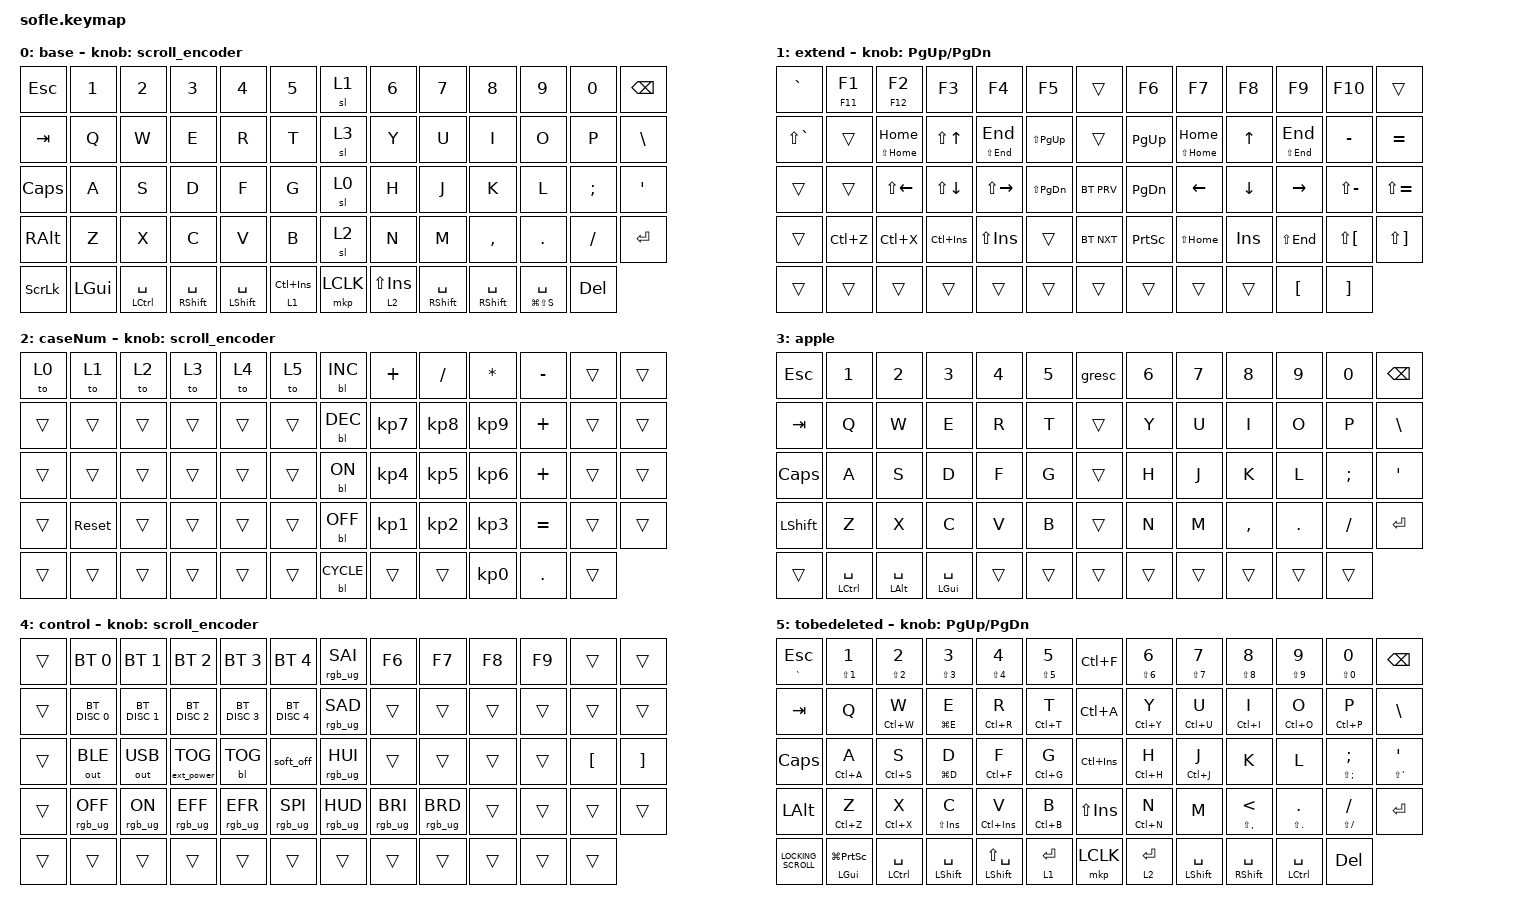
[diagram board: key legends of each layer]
#include <behaviors/mouse_keys.dtsi>
#include <behaviors.dtsi>
#include <dt-bindings/zmk/backlight.h>
#include <dt-bindings/zmk/bt.h>
#include <dt-bindings/zmk/ext_power.h>
#include <dt-bindings/zmk/keys.h>
#include <dt-bindings/zmk/mouse.h>
#include <dt-bindings/zmk/outputs.h>
#include <dt-bindings/zmk/rgb.h>

#define ZMK_MOUSE_DEFAULT_MOVE_VAL 1200  // 600
#define ZMK_MOUSE_DEFAULT_SCRL_VAL 20    // 10
#define U_MS_U &mmv MOVE_UP
#define U_MS_D &mmv MOVE_DOWN
#define U_MS_L &mmv MOVE_LEFT
#define U_MS_R &mmv MOVE_RIGHT
#define ZMK_MOUSE_DEFAULT_MOVE_VAL 1200  //  600
#define ZMK_MOUSE_DEFAULT_SCRL_VAL 20    // 10

/ {
    behaviors {
        mmv {
            acceleration-exponent = <1>;      // 1
            time-to-max-speed-ms = <900>;    // 40
            delay-ms = <0>;                   // 0
        };

        msc {
            acceleration-exponent = <1>;      // 0
            time-to-max-speed-ms = <400>;      // 500
            delay-ms = <0>;                   //   10
        };
    };

    scroll_encoder: scroll_encoder {
        compatible = "zmk,behavior-sensor-rotate";
        #sensor-binding-cells = <0>;
        bindings = <&msc SCRL_DOWN>, <&msc SCRL_UP>;

        tap-ms = <30>;
    };

    macros {
        openprompt: openprompt {
            compatible = "zmk,behavior-macro";
            #binding-cells = <0>;
            bindings = <&kp LG(R) &kp C &kp M &kp D &kp RET &kp E &kp N &kp V &kp RET>;
            label = "OPENPROMPT";
            wait-ms = <50>;
        };

        opencase: opencase {
            compatible = "zmk,behavior-macro";
            #binding-cells = <0>;
            bindings = <&kp RC(R) &kp C &kp A &kp S &kp E &kp UNDER &kp G &kp O &kp T &kp O &kp SPACE &kp LS(INS) &kp ENTER>;
            label = "OPENCASE";
        };
    };

    combos {
        compatible = "zmk,combos";

        altctldel {
            bindings = <&none>;
            key-positions = <26 63 54>;
        };
    };

    keymap {
        compatible = "zmk,keymap";

        layer0 {
            bindings = <
&kp ESC         &kp N1        &kp N2           &kp N3           &kp N4            &kp N5           &sl 1      &kp N6            &kp N7            &kp N8           &kp N9               &kp N0      &kp BSPC
&kp TAB         &kp Q         &kp W            &kp E            &kp R             &kp T            &sl 3      &kp Y             &kp U             &kp I            &kp O                &kp P       &kp BSLH
&kp CAPS        &kp A         &kp S            &kp D            &kp F             &kp G            &sl 0      &kp H             &kp J             &kp K            &kp L                &kp SEMI    &kp APOS
&kp RIGHT_ALT   &kp Z         &kp X            &kp C            &kp V             &kp B            &sl 2      &kp N             &kp M             &kp COMMA        &kp DOT              &kp FSLH    &kp ENTER
&kp SCROLLLOCK  &kp LEFT_GUI  &mt LCTRL SPACE  &mt RSHFT SPACE  &mt LSHIFT SPACE  &lt 1 LC(INS)    &mkp LCLK  &lt 2 LS(INSERT)  &mt RSHIFT SPACE  &mt RSHFT SPACE  &mt LG(LS(S)) SPACE  &kp DELETE
            >;

            sensor-bindings = <&scroll_encoder>;
            label = "base";
        };

        layer1 {
            bindings = <
&kp GRAVE      &mt F11 F1  &mt F12 F2         &kp F3            &kp F4           &kp F5               &trans      &kp F6           &kp F7             &kp F8    &kp F9            &kp F10               &trans
&kp LS(GRAVE)  &trans      &mt LS(HOME) HOME  &kp LS(UP_ARROW)  &mt LS(END) END  &kp LS(PAGE_UP)      &trans      &kp PG_UP        &mt LS(HOME) HOME  &kp UP    &mt LS(END) END   &kp MINUS             &kp EQUAL
&trans         &trans      &kp LS(LEFT)       &kp LS(DOWN)      &kp LS(RIGHT)    &kp LS(PAGE_DOWN)    &bt BT_PRV  &kp PAGE_DOWN    &kp LEFT           &kp DOWN  &kp RIGHT         &kp LS(MINUS)         &kp LS(EQUAL)
&trans         &kp LC(Z)   &kp LC(X)          &kp LC(INSERT)    &kp LS(INSERT)   &trans               &bt BT_NXT  &kp PRINTSCREEN  &kp LS(HOME)       &kp INS   &kp LS(END)       &kp LS(LEFT_BRACKET)  &kp LS(RIGHT_BRACKET)
&trans         &trans      &trans             &trans            &trans           &trans               &trans      &trans           &trans             &trans    &kp LEFT_BRACKET  &kp RIGHT_BRACKET
            >;

            sensor-bindings = <&inc_dec_kp PAGE_UP PAGE_DOWN>;
            label = "extend";
        };

        layer2 {
            bindings = <
&to 0   &to 1       &to 2   &to 3   &to 4   &to 5     &bl BL_INC    &kp PLUS         &kp SLASH        &kp ASTRK        &kp MINUS  &trans  &trans
&trans  &trans      &trans  &trans  &trans  &trans    &bl BL_DEC    &kp KP_NUMBER_7  &kp KP_NUMBER_8  &kp KP_NUMBER_9  &kp PLUS   &trans  &trans
&trans  &trans      &trans  &trans  &trans  &trans    &bl BL_ON     &kp KP_NUMBER_4  &kp KP_NUMBER_5  &kp KP_NUMBER_6  &kp PLUS   &trans  &trans
&trans  &sys_reset  &trans  &trans  &trans  &trans    &bl BL_OFF    &kp KP_NUMBER_1  &kp KP_NUMBER_2  &kp KP_NUMBER_3  &kp EQUAL  &trans  &trans
&trans  &trans      &trans  &trans  &trans  &trans    &bl BL_CYCLE  &trans           &trans           &kp KP_NUMBER_0  &kp DOT    &trans
            >;

            sensor-bindings = <&scroll_encoder>;
            label = "caseNum";
        };

        apple {
            bindings = <
&kp ESC    &kp N1                  &kp N2          &kp N3          &kp N4  &kp N5    &gresc  &kp N6  &kp N7  &kp N8     &kp N9   &kp N0    &kp BSPC
&kp TAB    &kp Q                   &kp W           &kp E           &kp R   &kp T     &trans  &kp Y   &kp U   &kp I      &kp O    &kp P     &kp BSLH
&kp CAPS   &kp A                   &kp S           &kp D           &kp F   &kp G     &trans  &kp H   &kp J   &kp K      &kp L    &kp SEMI  &kp SQT
&kp LSHFT  &kp Z                   &kp X           &kp C           &kp V   &kp B     &trans  &kp N   &kp M   &kp COMMA  &kp DOT  &kp FSLH  &kp RET
&trans     &mt LEFT_CONTROL SPACE  &mt LALT SPACE  &mt LGUI SPACE  &trans  &trans    &trans  &trans  &trans  &trans     &trans   &trans
            >;

            label = "apple";
        };

        layer4 {
            bindings = <
&trans  &bt BT_SEL 0     &bt BT_SEL 1    &bt BT_SEL 2       &bt BT_SEL 3     &bt BT_SEL 4       &rgb_ug RGB_SAI  &kp F6           &kp F7           &kp F8  &kp F9  &trans            &trans
&trans  &bt BT_DISC 0    &bt BT_DISC 1   &bt BT_DISC 2      &bt BT_DISC 3    &bt BT_DISC 4      &rgb_ug RGB_SAD  &trans           &trans           &trans  &trans  &trans            &trans
&trans  &out OUT_BLE     &out OUT_USB    &ext_power EP_TOG  &bl BL_TOG       &soft_off          &rgb_ug RGB_HUI  &trans           &trans           &trans  &trans  &kp LEFT_BRACKET  &kp RIGHT_BRACKET
&trans  &rgb_ug RGB_OFF  &rgb_ug RGB_ON  &rgb_ug RGB_EFF    &rgb_ug RGB_EFR  &rgb_ug RGB_SPI    &rgb_ug RGB_HUD  &rgb_ug RGB_BRI  &rgb_ug RGB_BRD  &trans  &trans  &trans            &trans
&trans  &trans           &trans          &trans             &trans           &trans             &trans           &trans           &trans           &trans  &trans  &trans
            >;

            display-name = "control";
            sensor-bindings = <&scroll_encoder>;
        };

        normal {
            bindings = <
&mt GRAVE ESC       &mt LS(N1) NUMBER_1           &mt LS(N2) NUMBER_2     &mt LS(N3) N3         &mt LS(N4) N4             &mt LS(N5) N5    &kp LC(F)    &mt LS(N6) N6  &mt LS(N7) N7         &mt LS(N8) N8            &mt LS(N9) N9           &mt LS(N0) N0           &kp BACKSPACE
&kp TAB             &kp Q                         &mt LC(W) W             &mt LG(E) E           &mt LC(R) R               &mt LC(T) T      &kp LC(A)    &mt LC(Y) Y    &mt LC(U) U           &mt LC(I) I              &mt LC(O) O             &mt LC(P) P             &kp BSLH
&kp CAPS            &mt LC(A) A                   &mt LC(S) S             &mt LG(D) D           &mt LC(F) F               &mt LC(G) G      &kp LC(INS)  &mt LC(H) H    &mt LC(J) J           &kp K                    &kp L                   &mt LS(SEMI) SEMICOLON  &mt LS(SINGLE_QUOTE) SINGLE_QUOTE
&kp LEFT_ALT        &mt LC(Z) Z                   &mt LC(X) X             &mt LS(INSERT) C      &mt LC(INSERT) V          &mt LC(B) B      &kp LS(INS)  &mt LC(N) N    &kp M                 &mt LS(COMMA) LESS_THAN  &mt LS(PERIOD) PERIOD   &mt LS(FSLH) SLASH      &kp ENTER
&kp LOCKING_SCROLL  &mt LEFT_GUI LG(PRINTSCREEN)  &mt LEFT_CONTROL SPACE  &mt LEFT_SHIFT SPACE  &mt LEFT_SHIFT LS(SPACE)  &lt 1 ENTER      &mkp LCLK    &lt 2 ENTER    &mt LEFT_SHIFT SPACE  &mt RIGHT_SHIFT SPACE    &mt LEFT_CONTROL SPACE  &kp DELETE
            >;

            sensor-bindings = <&inc_dec_kp PAGE_UP PAGE_DOWN>;
            display-name = "tobedeleted";
        };
    };
};
